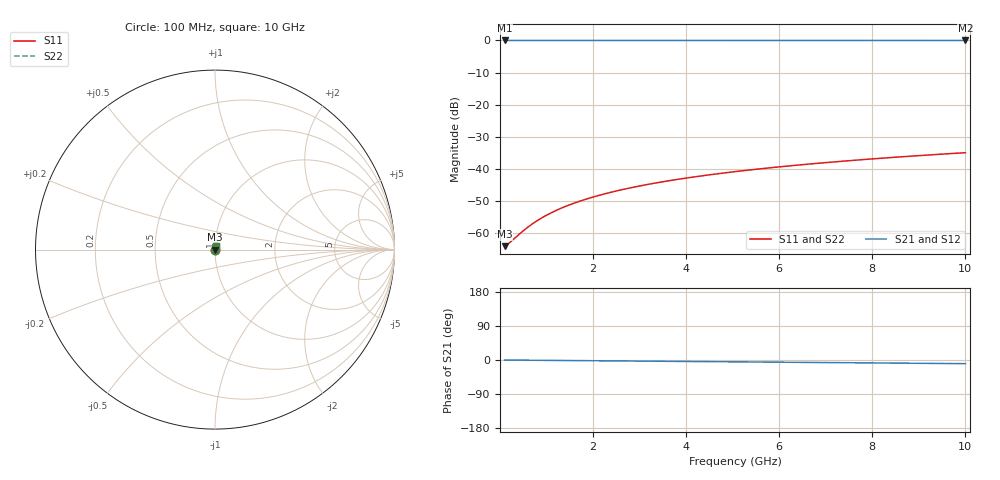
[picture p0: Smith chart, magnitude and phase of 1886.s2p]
# Hz S RI R 50.00
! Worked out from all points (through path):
!   100 points, 100 MHz to 10 GHz, reference 50 ohm
!   highest |S21| = -0.01 dB at 100 MHz (marker M1); lowest = 0.0 dB at 10 GHz (marker M2)
!   group delay of S21, straight-line fit = 2.68 ps
!   lowest |S11| = -64.1 dB at 100 MHz (marker M3), VSWR 1.00, Z = 50.1 + j0.0179 ohm
!   |S11| at or under -10 dB: start of sweep to end of sweep
!   |S22| runs from -64.1 to -35.0 dB; largest |S21 - S12| = 0
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1e8  0.000598 0.000178  0.9994 -0.00168  0.9994 -0.00168  0.000598 0.000178
2e8  0.000602 0.000357  0.9994 -0.00335  0.9994 -0.00335  0.000602 0.000357
5e8  0.000614 0.000891  0.9993 -0.00838  0.9993 -0.00838  0.000614 0.000891
6e8  0.000619 0.00107  0.9993 -0.0101  0.9993 -0.0101  0.000619 0.00107
7e8  0.000623 0.00125  0.9993 -0.0117  0.9993 -0.0117  0.000623 0.00125
9e8  0.000635 0.0016  0.9993 -0.0151  0.9993 -0.0151  0.000635 0.0016
1.1e9  0.000648 0.00196  0.9992 -0.0184  0.9992 -0.0184  0.000648 0.00196
1.3e9  0.000663 0.00232  0.9991 -0.0218  0.9991 -0.0218  0.000663 0.00232
1.5e9  0.000681 0.00267  0.999 -0.0251  0.999 -0.0251  0.000681 0.00267
1.8e9  0.000711 0.0032  0.9989 -0.0302  0.9989 -0.0302  0.000711 0.0032
2.1e9  0.000747 0.00374  0.9987 -0.0352  0.9987 -0.0352  0.000747 0.00374
2.5e9  0.000803 0.00445  0.9985 -0.0419  0.9985 -0.0419  0.000803 0.00445
2.9e9  0.000868 0.00515  0.9981 -0.0486  0.9981 -0.0486  0.000868 0.00515
3.4e9  0.000963 0.00604  0.9977 -0.057  0.9977 -0.057  0.000963 0.00604
3.8e9  0.00105 0.00674  0.9973 -0.0637  0.9973 -0.0637  0.00105 0.00674
4.2e9  0.00114 0.00744  0.9968 -0.0704  0.9968 -0.0704  0.00114 0.00744
5.1e9  0.00139 0.00902  0.9956 -0.0855  0.9956 -0.0855  0.00139 0.00902
5.9e9  0.00166 0.0104  0.9943 -0.099  0.9943 -0.099  0.00166 0.0104
6.7e9  0.00196 0.0118  0.9929 -0.1124  0.9929 -0.1124  0.00196 0.0118
7.5e9  0.0023 0.0132  0.9912 -0.1258  0.9912 -0.1258  0.0023 0.0132
8.4e9  0.00272 0.0147  0.9892 -0.1409  0.9892 -0.1409  0.00272 0.0147
1e10  0.0036 0.0175  0.9849 -0.1677  0.9849 -0.1677  0.0036 0.0175
